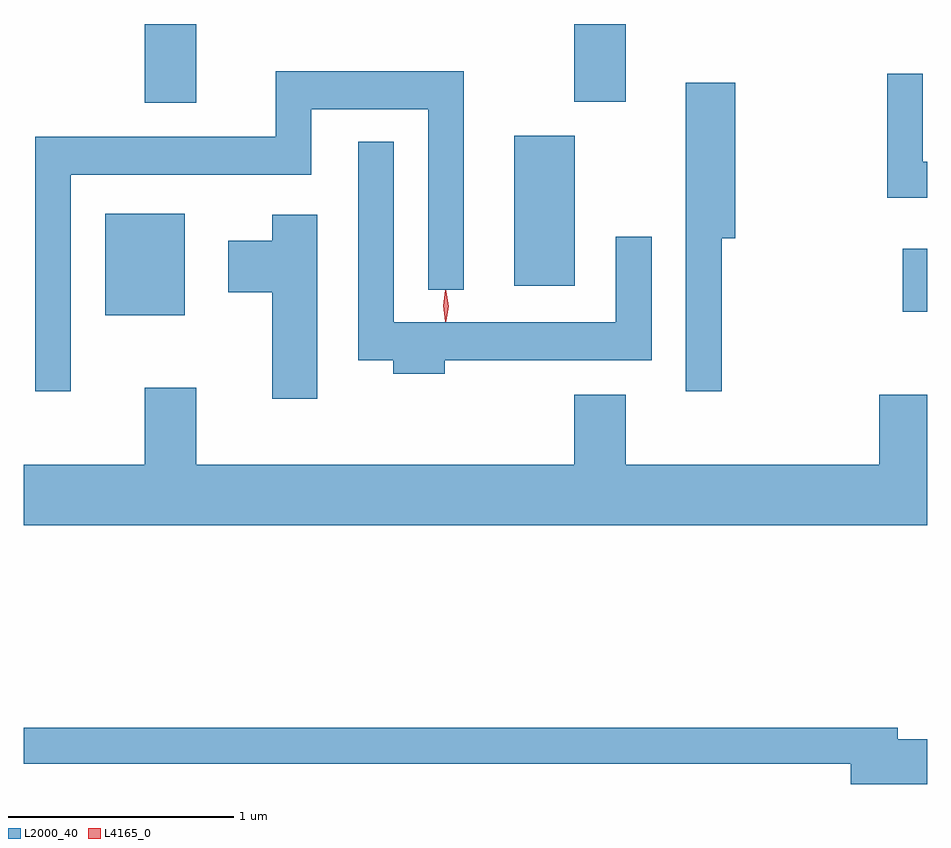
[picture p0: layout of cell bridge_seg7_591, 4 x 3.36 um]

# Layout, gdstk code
import gdstk
lib = gdstk.Library(unit=1e-6, precision=1e-09)
def R(c, l, rs):  # rectangles x0, y0, x1, y1
    for r in rs: c.add(gdstk.rectangle(r[:2], r[2:], *l))
def P(c, l, *ps):  # polygons
    for p in ps: c.add(gdstk.Polygon(p, *l))
L2000_40 = (2000, 40)
L4165_0 = (4165, 0)

bridge_seg7_591 = lib.new_cell('bridge_seg7_591')
R(bridge_seg7_591, L2000_40, [(657.446,1792.946,657.799,1793.394), (660.976,1792.961,661.085,1793.239), (659.256,1793.076,659.524,1793.739), (657.621,1793.886,657.849,1794.234), (659.521,1793.891,659.749,1794.234)])
P(bridge_seg7_591, L2000_40, [(657.294,1793.566),(658.359,1793.566),(658.359,1793.856),(658.876,1793.856),(658.876,1793.058),(659.034,1793.058),(659.034,1794.024),(658.201,1794.024),(658.201,1793.734),(657.136,1793.734),(657.136,1792.608),(657.294,1792.608)],
  [(661.085,1793.624),(661.064,1793.624),(661.064,1794.013),(660.906,1794.013),(660.906,1793.466),(661.085,1793.466)],
  [(660.174,1793.286),(660.234,1793.286),(660.234,1793.974),(660.016,1793.974),(660.016,1792.608),(660.174,1792.608)],
  [(658.949,1792.746),(659.864,1792.746),(659.864,1793.293),(659.706,1793.293),(659.706,1792.914),(658.724,1792.914),(658.724,1793.713),(658.566,1793.713),(658.566,1792.746),(658.721,1792.746),(658.721,1792.686),(658.949,1792.686)],
  [(658.384,1793.389),(658.186,1793.389),(658.186,1793.274),(657.991,1793.274),(657.991,1793.046),(658.186,1793.046),(658.186,1792.576),(658.384,1792.576)],
  [(661.085,1792.594),(660.871,1792.594),(660.871,1792.284),(659.749,1792.284),(659.749,1792.594),(659.521,1792.594),(659.521,1792.284),(657.849,1792.284),(657.849,1792.624),(657.621,1792.624),(657.621,1792.284),(657.085,1792.284),(657.085,1792.016),(661.085,1792.016)],
  [(661.085,1791.069),(660.954,1791.069),(660.954,1791.119),(657.085,1791.119),(657.085,1790.961),(660.746,1790.961),(660.746,1790.871),(661.085,1790.871)])
P(bridge_seg7_591, L4165_0, [(658.956,1792.919),(658.956,1792.92),(658.946,1792.986),(658.956,1793.052),(658.956,1793.053),(658.956,1793.052),(658.966,1792.986),(658.956,1792.92)],
  [(658.952,1792.917),(658.952,1792.917),(658.942,1792.987),(658.952,1793.056),(658.952,1793.056),(658.953,1793.056),(658.962,1792.987),(658.953,1792.917)])

lib.write_gds('bridge_seg7_591.gds')
